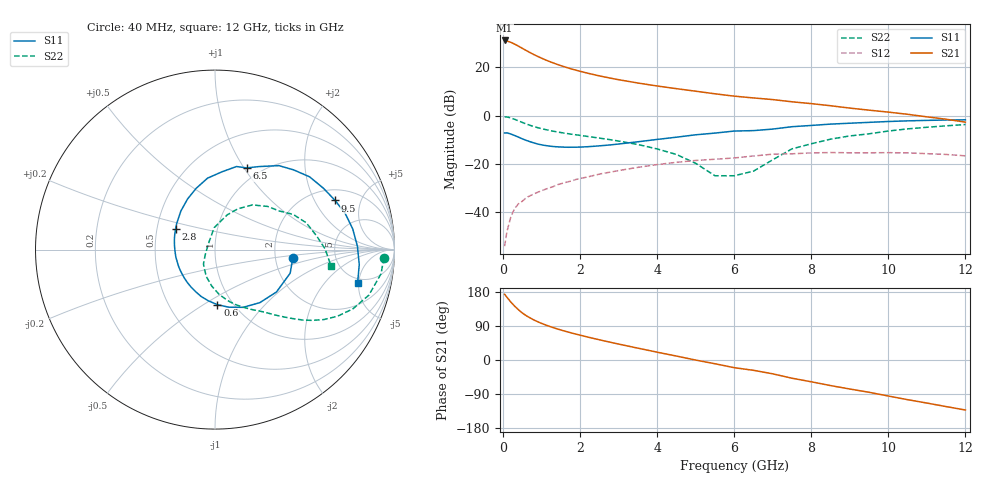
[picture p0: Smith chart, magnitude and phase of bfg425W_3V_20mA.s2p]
! Filename: 320bfg425.001
! BFG425W Field C1
! V1=8.504E-001V,V2=3.000E+000V, I1=2.641E-004A, I2=1.998E-002A
# GHz  S  MA  R 50
!  S11  S21  S12  S22
!Freq(GHz)  Mag  Ang  Mag  Ang  Mag  Ang  Mag  Ang
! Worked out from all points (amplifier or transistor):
!   44 points, 40 MHz to 12 GHz, reference 50 ohm
!   highest |S21| = 31.0 dB at 40 MHz (marker M1)
!   |S21| within 3 dB of that: start of sweep to 472.1 MHz
!   unconditionally stable (mu >= 1): 1.389 GHz to end of sweep
!   at 700 MHz: K = 0.74, MSG = 29.6 dB, |S12| = -33.2 dB
!   at 2.4 GHz: K = 1.14, MAG = 18.4 dB, |S12| = -24.6 dB
!   at 12 GHz: K = 1.35, MAG = 3.4 dB, |S12| = -16.7 dB
!   S11 on the Smith chart (normalised r, x): 40 MHz: 2.50, -0.30; 600 MHz: 0.85, -0.57; 2.8 GHz: 0.63, +0.15; 6.5 GHz: 0.86, +1.03; 9.5 GHz: 2.58, +2.97; 12 GHz: 4.37, -4.85
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0.04  0.436 -6.3  35.58 173.5  0.002 65.5  0.942 -2.8
0.1  0.439 -17.4  34.6 165.8  0.004 82.3  0.935 -8.3
0.2  0.416 -34.6  32.57 153.1  0.008 75.9  0.894 -16.5
0.3  0.387 -49.8  29.9 142.2  0.012 71.7  0.836 -23.3
0.4  0.358 -64.0  27.11 132.6  0.015 68.1  0.776 -28.6
0.5  0.33 -76.5  24.48 124.0  0.017 65.2  0.72 -32.8
0.6  0.307 -87.5  22.07 117.1  0.02 63.3  0.67 -36.1
0.7  0.288 -97.3  19.99 111.1  0.022 61.8  0.628 -38.7
0.9  0.258 -114.7  16.63 100.9  0.026 60.0  0.561 -42.7
1  0.248 -122.4  15.29 96.6  0.028 59.3  0.535 -44.4
1.2  0.234 -136.0  13.11 88.9  0.032 58.1  0.493 -47.5
1.6  0.222 -158.9  10.12 76.3  0.041 55.3  0.432 -53.0
2.2  0.227 174.1  7.479 60.5  0.054 50.0  0.369 -61.9
2.8  0.248 152.3  5.892 46.5  0.068 43.3  0.315 -71.7
3.5  0.287 131.5  4.695 31.2  0.085 34.1  0.252 -84.5
4.5  0.357 107.1  3.591 10.4  0.108 19.5  0.157 -108.3
5.5  0.434 85.2  2.812 -9.9  0.125 3.9  0.057 -157.8
6.5  0.488 68.9  2.31 -27.2  0.146 -8.3  0.071 109.8
8.5  0.665 37.6  1.595 -67.5  0.172 -45.3  0.325 50.0
9.5  0.723 22.3  1.291 -85.2  0.17 -62.0  0.419 30.8
10.5  0.776 8.5  1.061 -104.7  0.169 -80.6  0.53 16.4
12  0.816 -13.1  0.73 -132.0  0.147 -110.6  0.652 -7.8
